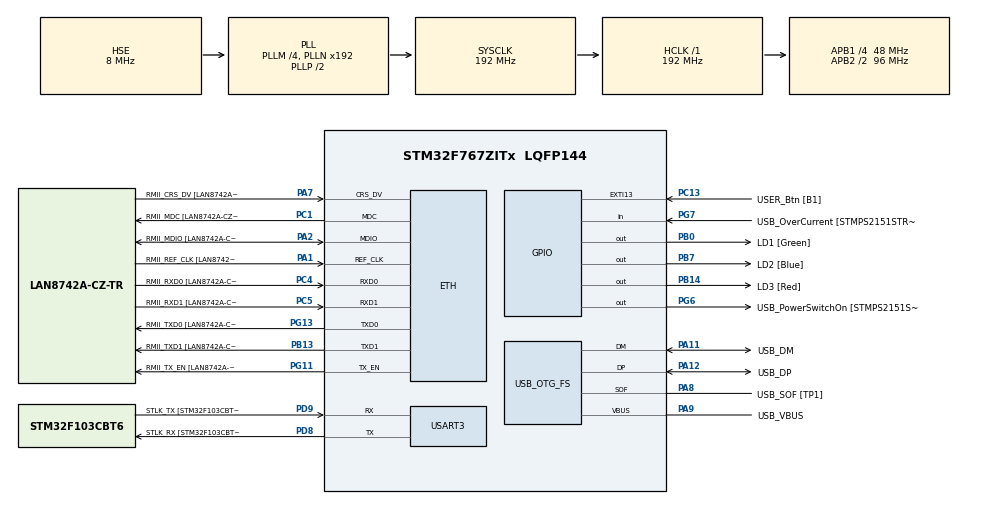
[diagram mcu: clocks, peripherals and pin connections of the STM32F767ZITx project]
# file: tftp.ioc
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ETH.MediaInterface=HAL_ETH_RMII_MODE
ETH.PHY_Name=LAN8742A_PHY_ADDRESS
ETH.PHY_Value=0
ETH.PhyAddress=0
LWIP.BSP.number=1
LWIP.GATEWAY_ADDRESS=192.168.000.001
LWIP.IP_ADDRESS=192.168.000.155
LWIP.LWIP_DHCP=0
LWIP.MEM_SIZE=2048
LWIP.NETMASK_ADDRESS=255.255.255.000
LWIP.Version=v2.1.2_Cube
LWIP0.BSP.STBoard=false
LWIP0.BSP.api=BSP_COMPONENT_DRIVER
LWIP0.BSP.component=LAN8742
LWIP0.BSP.instance=LAN8742
LWIP0.BSP.name=Driver_PHY
LWIP0.BSP.semaphore=S_LAN8742
LWIP0.BSP.solution=LAN8742
Mcu.Family=STM32F7
Mcu.Name=STM32F767ZITx
Mcu.Package=LQFP144
NVIC.PriorityGroup=NVIC_PRIORITYGROUP_4
PA1.GPIO_Label=RMII_REF_CLK [LAN8742A-CZ-TR_REFCLK0]
PA1.Mode=RMII
PA1.Signal=ETH_REF_CLK
PA10.GPIO_Label=USB_ID
PA10.Signal=USB_OTG_FS_ID
PA11.GPIO_Label=USB_DM
PA11.Mode=Device_Only
PA11.Signal=USB_OTG_FS_DM
PA12.GPIO_Label=USB_DP
PA12.Mode=Device_Only
PA12.Signal=USB_OTG_FS_DP
PA13.GPIO_Label=TMS
PA13.Mode=Serial_Wire
PA13.Signal=SYS_JTMS-SWDIO
PA14.GPIO_Label=TCK
PA14.Mode=Serial_Wire
PA14.Signal=SYS_JTCK-SWCLK
PA2.GPIO_Label=RMII_MDIO [LAN8742A-CZ-TR_MDIO]
PA2.Mode=RMII
PA2.Signal=ETH_MDIO
PA7.GPIO_Label=RMII_CRS_DV [LAN8742A-CZ-TR_CRS_DV]
PA7.Mode=RMII
PA7.Signal=ETH_CRS_DV
PA8.GPIO_Label=USB_SOF [TP1]
PA8.Mode=Activate_SOF_FS
PA8.Signal=USB_OTG_FS_SOF
PA9.GPIO_Label=USB_VBUS
PA9.Mode=Activate_VBUS
PA9.Signal=USB_OTG_FS_VBUS
PB0.GPIO_Label=LD1 [Green]
PB0.Signal=GPIO_Output
PB13.GPIO_Label=RMII_TXD1 [LAN8742A-CZ-TR_TXD1]
PB13.Mode=RMII
PB13.Signal=ETH_TXD1
PB14.GPIO_Label=LD3 [Red]
PB14.Signal=GPIO_Output
PB3.GPIO_Label=SWO
PB3.Signal=SYS_JTDO-SWO
PB7.GPIO_Label=LD2 [Blue]
PB7.Signal=GPIO_Output
PC1.GPIO_Label=RMII_MDC [LAN8742A-CZ-TR_MDC]
PC1.Mode=RMII
PC1.Signal=ETH_MDC
PC13.GPIO_Label=USER_Btn [B1]
PC13.Signal=GPXTI13
PC14/OSC32_IN.Mode=LSE-External-Oscillator
PC14/OSC32_IN.Signal=RCC_OSC32_IN
PC15/OSC32_OUT.Mode=LSE-External-Oscillator
PC15/OSC32_OUT.Signal=RCC_OSC32_OUT
PC4.GPIO_Label=RMII_RXD0 [LAN8742A-CZ-TR_RXD0]
PC4.Mode=RMII
PC4.Signal=ETH_RXD0
PC5.GPIO_Label=RMII_RXD1 [LAN8742A-CZ-TR_RXD1]
PC5.Mode=RMII
PC5.Signal=ETH_RXD1
PD8.GPIO_Label=STLK_RX [STM32F103CBT6_PA3]
PD8.Mode=Asynchronous
PD8.Signal=USART3_TX
PD9.GPIO_Label=STLK_TX [STM32F103CBT6_PA2]
PD9.Mode=Asynchronous
PD9.Signal=USART3_RX
PG11.GPIO_Label=RMII_TX_EN [LAN8742A-CZ-TR_TXEN]
PG11.Mode=RMII
PG11.Signal=ETH_TX_EN
PG13.GPIO_Label=RMII_TXD0 [LAN8742A-CZ-TR_TXD0]
PG13.Mode=RMII
PG13.Signal=ETH_TXD0
PG6.GPIO_Label=USB_PowerSwitchOn [STMPS2151STR_EN]
PG6.Signal=GPIO_Output
PG7.GPIO_Label=USB_OverCurrent [STMPS2151STR_FAULT]
PG7.Signal=GPIO_Input
PH0/OSC_IN.GPIO_Label=MCO [STM32F103CBT6_PA8]
PH0/OSC_IN.Mode=HSE-External-Clock-Source
PH0/OSC_IN.Signal=RCC_OSC_IN
PH1/OSC_OUT.Mode=HSE-External-Clock-Source
PH1/OSC_OUT.Signal=RCC_OSC_OUT
ProjectManager.HeapSize=0x1000
ProjectManager.StackSize=0x1000
ProjectManager.TargetToolchain=STM32CubeIDE
RCC.48MHZClocksFreq_Value=24000000
RCC.AHBFreq_Value=192000000
RCC.APB1CLKDivider=RCC_HCLK_DIV4
RCC.APB1Freq_Value=48000000
RCC.APB1TimFreq_Value=96000000
RCC.APB2CLKDivider=RCC_HCLK_DIV2
RCC.APB2Freq_Value=96000000
RCC.APB2TimFreq_Value=192000000
RCC.CortexFreq_Value=192000000
RCC.HCLKFreq_Value=192000000
RCC.HSE_VALUE=8000000
RCC.HSI_VALUE=16000000
RCC.PLLM=4
RCC.PLLMUL=RCC_PLL_MUL9
RCC.PLLQ=8
RCC.PRESCALERUSB=RCC_USBCLKSOURCE_PLL_DIV1_5
RCC.SYSCLKFreq_VALUE=192000000
RCC.SYSCLKSource=RCC_SYSCLKSOURCE_PLLCLK
RCC.SYSCLKSourceVirtual=RCC_SYSCLKSOURCE_PLLCLK
RCC.USBFreq_Value=48000000
RCC.VCOOutputFreq_Value=384000000
USART3.VirtualMode-Asynchronous=VM_ASYNC
USB_OTG_FS.VirtualMode=Device_Only
VP_LWIP_VS_Enabled.Mode=Enabled
board=NUCLEO-F767ZI

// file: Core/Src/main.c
/* USER CODE BEGIN Header */
/**
  ******************************************************************************
  * @file           : main.c
  * @brief          : Main program body
  ******************************************************************************
  * @attention
  *
  * Copyright (c) 2024 STMicroelectronics.
  * All rights reserved.
  *
  * This software is licensed under terms that can be found in the LICENSE file
  * in the root directory of this software component.
  * If no LICENSE file comes with this software, it is provided AS-IS.
  *
  ******************************************************************************
  */
/* USER CODE END Header */
#include "main.h"
#include "lwip.h"

/* USER CODE BEGIN Includes */
#include <stdio.h>
#include "tftpserver.h"
#include "flash_if.h"
/* USER CODE END Includes */

UART_HandleTypeDef huart3;

PCD_HandleTypeDef hpcd_USB_OTG_FS;

/* USER CODE BEGIN PV */
typedef  void (*pFunction)(void);
pFunction Jump_To_Application;
uint32_t JumpAddress;

/* USER CODE END PV */

void SystemClock_Config(void);
static void MX_GPIO_Init(void);
static void MX_USART3_UART_Init(void);
static void MX_USB_OTG_FS_PCD_Init(void);
/* USER CODE BEGIN PFP */
int __io_putchar(int ch){
	HAL_UART_Transmit(&huart3, &ch, 1, 1000);
    return ch;
}
/* USER CODE END PFP */

int main(void)
{

  /* MCU Configuration--------------------------------------------------------*/

  /* Reset of all peripherals, Initializes the Flash interface and the Systick. */
  HAL_Init();

  /* Configure the system clock */
  SystemClock_Config();

  /* Initialize all configured peripherals */
  MX_GPIO_Init();
  MX_USART3_UART_Init();
  MX_USB_OTG_FS_PCD_Init();
  MX_LWIP_Init();
  /* USER CODE BEGIN 2 */
  if (HAL_GPIO_ReadPin(USER_Btn_GPIO_Port, USER_Btn_Pin) == 0x00) {
	  printf("Button Press X !\r\n");
/*	  uint32_t flash_address = *(__IO uint32_t*)USER_FLASH_FIRST_PAGE_ADDRESS;
	  uint32_t masked_address = flash_address & 0x2FFE0000;
	  printf(" %02X\r\n", masked_address);*/
	  /* Check if valid stack address (RAM address) then jump to user application */
	 if (((*(__IO uint32_t*)USER_FLASH_FIRST_PAGE_ADDRESS) & 0x2FFE0000 ) == 0x20080000)
	 {
		 printf("jump to user application !\r\n");
	   /* Jump to user application */
	   JumpAddress = *(__IO uint32_t*) (USER_FLASH_FIRST_PAGE_ADDRESS + 4);
	   Jump_To_Application = (pFunction) JumpAddress;
	   /* Initialize user application's Stack Pointer */
	   __set_MSP(*(__IO uint32_t*) USER_FLASH_FIRST_PAGE_ADDRESS);
	   Jump_To_Application();
	   while(1);
	 }
	 else{
		 printf("not valid stack address\r\n");
		 HAL_GPIO_WritePin(LD3_GPIO_Port,LD3_Pin,GPIO_PIN_SET);
		 while(1);
	 }
  }
  else{
	  IAP_tftpd_init();
  }

  HAL_GPIO_WritePin(LD1_GPIO_Port,LD1_Pin,GPIO_PIN_SET);
  /* USER CODE END 2 */

  /* Infinite loop */
  /* USER CODE BEGIN WHILE */
  while (1)
  {
	  MX_LWIP_Process();
	  HAL_GPIO_WritePin(LD1_GPIO_Port,LD1_Pin,GPIO_PIN_RESET);
	  HAL_Delay(100);
	  HAL_GPIO_WritePin(LD1_GPIO_Port,LD1_Pin,GPIO_PIN_SET);
	  HAL_Delay(100);
    /* USER CODE END WHILE */

  }
}

void SystemClock_Config(void)
{
  RCC_OscInitTypeDef RCC_OscInitStruct = {0};
  RCC_ClkInitTypeDef RCC_ClkInitStruct = {0};

  /** Configure LSE Drive Capability
  */
  HAL_PWR_EnableBkUpAccess();

  /** Configure the main internal regulator output voltage
  */
  __HAL_RCC_PWR_CLK_ENABLE();
  __HAL_PWR_VOLTAGESCALING_CONFIG(PWR_REGULATOR_VOLTAGE_SCALE1);

  /** Initializes the RCC Oscillators according to the specified parameters
  * in the RCC_OscInitTypeDef structure.
  */
  RCC_OscInitStruct.OscillatorType = RCC_OSCILLATORTYPE_HSE;
  RCC_OscInitStruct.HSEState = RCC_HSE_BYPASS;
  RCC_OscInitStruct.PLL.PLLState = RCC_PLL_ON;
  RCC_OscInitStruct.PLL.PLLSource = RCC_PLLSOURCE_HSE;
  RCC_OscInitStruct.PLL.PLLM = 4;
  RCC_OscInitStruct.PLL.PLLN = 192;
  RCC_OscInitStruct.PLL.PLLP = RCC_PLLP_DIV2;
  RCC_OscInitStruct.PLL.PLLQ = 8;
  RCC_OscInitStruct.PLL.PLLR = 2;
  if (HAL_RCC_OscConfig(&RCC_OscInitStruct) != HAL_OK)
  {
    Error_Handler();
  }

  /** Activate the Over-Drive mode
  */
  if (HAL_PWREx_EnableOverDrive() != HAL_OK)
  {
    Error_Handler();
  }

  /** Initializes the CPU, AHB and APB buses clocks
  */
  RCC_ClkInitStruct.ClockType = RCC_CLOCKTYPE_HCLK|RCC_CLOCKTYPE_SYSCLK
                              |RCC_CLOCKTYPE_PCLK1|RCC_CLOCKTYPE_PCLK2;
  RCC_ClkInitStruct.SYSCLKSource = RCC_SYSCLKSOURCE_PLLCLK;
  RCC_ClkInitStruct.AHBCLKDivider = RCC_SYSCLK_DIV1;
  RCC_ClkInitStruct.APB1CLKDivider = RCC_HCLK_DIV4;
  RCC_ClkInitStruct.APB2CLKDivider = RCC_HCLK_DIV2;

  if (HAL_RCC_ClockConfig(&RCC_ClkInitStruct, FLASH_LATENCY_6) != HAL_OK)
  {
    Error_Handler();
  }
}

static void MX_USART3_UART_Init(void)
{

  huart3.Instance = USART3;
  huart3.Init.BaudRate = 115200;
  huart3.Init.WordLength = UART_WORDLENGTH_8B;
  huart3.Init.StopBits = UART_STOPBITS_1;
  huart3.Init.Parity = UART_PARITY_NONE;
  huart3.Init.Mode = UART_MODE_TX_RX;
  huart3.Init.HwFlowCtl = UART_HWCONTROL_NONE;
  huart3.Init.OverSampling = UART_OVERSAMPLING_16;
  huart3.Init.OneBitSampling = UART_ONE_BIT_SAMPLE_DISABLE;
  huart3.AdvancedInit.AdvFeatureInit = UART_ADVFEATURE_NO_INIT;
  if (HAL_UART_Init(&huart3) != HAL_OK)
  {
    Error_Handler();
  }

}

static void MX_USB_OTG_FS_PCD_Init(void)
{

  hpcd_USB_OTG_FS.Instance = USB_OTG_FS;
  hpcd_USB_OTG_FS.Init.dev_endpoints = 6;
  hpcd_USB_OTG_FS.Init.speed = PCD_SPEED_FULL;
  hpcd_USB_OTG_FS.Init.dma_enable = DISABLE;
  hpcd_USB_OTG_FS.Init.phy_itface = PCD_PHY_EMBEDDED;
  hpcd_USB_OTG_FS.Init.Sof_enable = ENABLE;
  hpcd_USB_OTG_FS.Init.low_power_enable = DISABLE;
  hpcd_USB_OTG_FS.Init.lpm_enable = DISABLE;
  hpcd_USB_OTG_FS.Init.vbus_sensing_enable = ENABLE;
  hpcd_USB_OTG_FS.Init.use_dedicated_ep1 = DISABLE;
  if (HAL_PCD_Init(&hpcd_USB_OTG_FS) != HAL_OK)
  {
    Error_Handler();
  }

}

static void MX_GPIO_Init(void)
{
  GPIO_InitTypeDef GPIO_InitStruct = {0};

  /* GPIO Ports Clock Enable */
  __HAL_RCC_GPIOC_CLK_ENABLE();
  __HAL_RCC_GPIOH_CLK_ENABLE();
  __HAL_RCC_GPIOA_CLK_ENABLE();
  __HAL_RCC_GPIOB_CLK_ENABLE();
  __HAL_RCC_GPIOD_CLK_ENABLE();
  __HAL_RCC_GPIOG_CLK_ENABLE();

  /*Configure GPIO pin Output Level */
  HAL_GPIO_WritePin(GPIOB, LD1_Pin|LD3_Pin|LD2_Pin, GPIO_PIN_RESET);

  /*Configure GPIO pin Output Level */
  HAL_GPIO_WritePin(USB_PowerSwitchOn_GPIO_Port, USB_PowerSwitchOn_Pin, GPIO_PIN_RESET);

  /*Configure GPIO pin : USER_Btn_Pin */
  GPIO_InitStruct.Pin = USER_Btn_Pin;
  GPIO_InitStruct.Mode = GPIO_MODE_IT_RISING;
  GPIO_InitStruct.Pull = GPIO_NOPULL;
  HAL_GPIO_Init(USER_Btn_GPIO_Port, &GPIO_InitStruct);

  /*Configure GPIO pins : LD1_Pin LD3_Pin LD2_Pin */
  GPIO_InitStruct.Pin = LD1_Pin|LD3_Pin|LD2_Pin;
  GPIO_InitStruct.Mode = GPIO_MODE_OUTPUT_PP;
  GPIO_InitStruct.Pull = GPIO_NOPULL;
  GPIO_InitStruct.Speed = GPIO_SPEED_FREQ_LOW;
  HAL_GPIO_Init(GPIOB, &GPIO_InitStruct);

  /*Configure GPIO pin : USB_PowerSwitchOn_Pin */
  GPIO_InitStruct.Pin = USB_PowerSwitchOn_Pin;
  GPIO_InitStruct.Mode = GPIO_MODE_OUTPUT_PP;
  GPIO_InitStruct.Pull = GPIO_NOPULL;
  GPIO_InitStruct.Speed = GPIO_SPEED_FREQ_LOW;
  HAL_GPIO_Init(USB_PowerSwitchOn_GPIO_Port, &GPIO_InitStruct);

  /*Configure GPIO pin : USB_OverCurrent_Pin */
  GPIO_InitStruct.Pin = USB_OverCurrent_Pin;
  GPIO_InitStruct.Mode = GPIO_MODE_INPUT;
  GPIO_InitStruct.Pull = GPIO_NOPULL;
  HAL_GPIO_Init(USB_OverCurrent_GPIO_Port, &GPIO_InitStruct);

}

void Error_Handler(void)
{
  __disable_irq();
  while (1)
  {
  }
}
